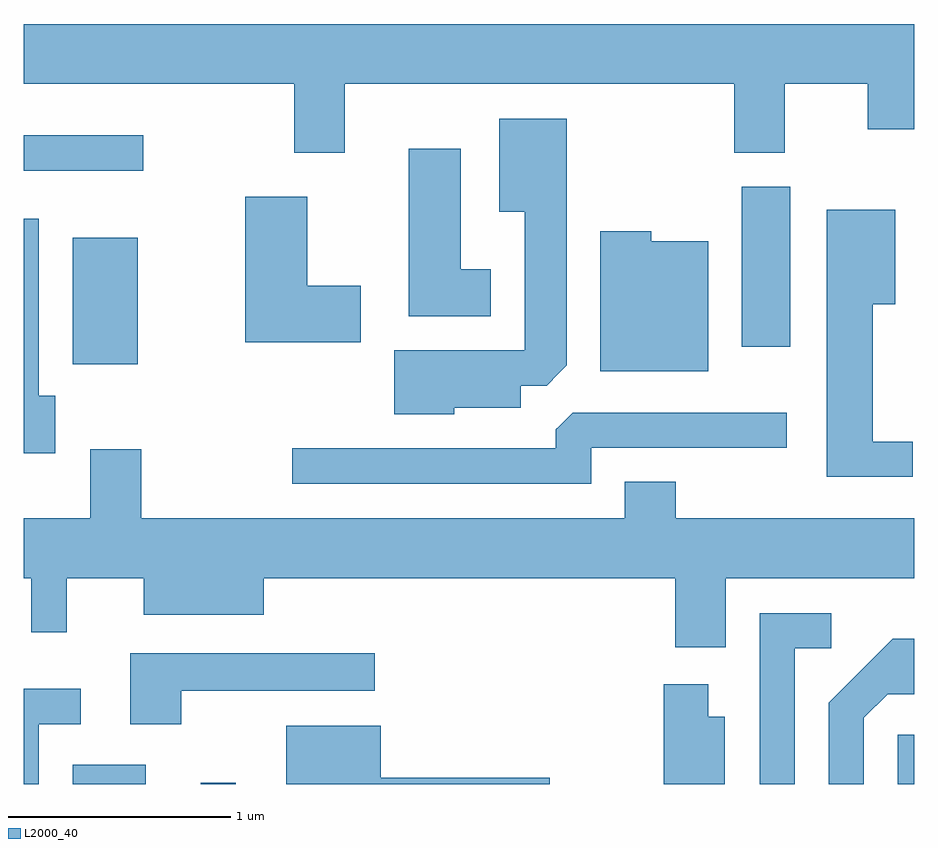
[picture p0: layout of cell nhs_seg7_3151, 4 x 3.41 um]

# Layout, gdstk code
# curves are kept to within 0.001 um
import gdstk
lib = gdstk.Library(unit=1e-6, precision=1e-09)
def R(c, l, rs):  # rectangles x0, y0, x1, y1
    for r in rs: c.add(gdstk.rectangle(r[:2], r[2:], *l))
def P(c, l, *ps):  # polygons
    for p in ps: c.add(gdstk.Polygon(p, *l))
L2000_40 = (2000, 40)

nhs_seg7_3151 = lib.new_cell('nhs_seg7_3151')
R(nhs_seg7_3151, L2000_40, [(281.831,1742.252,282.159,1742.339), (282.406,1742.252,282.564,1742.258), (285.536,1742.252,285.611,1742.473), (281.831,1744.136,282.124,1744.704), (284.836,1744.216,285.054,1744.934), (281.611,1745.006,282.148,1745.164)])
P(nhs_seg7_3151, L2000_40, [(283.054,1745.396),(284.801,1745.396),(284.801,1745.086),(285.029,1745.086),(285.029,1745.396),(285.401,1745.396),(285.401,1745.191),(285.611,1745.191),(285.611,1745.664),(281.611,1745.664),(281.611,1745.396),(282.826,1745.396),(282.826,1745.086),(283.054,1745.086)],
  [(283.544,1743.941),(283.844,1743.941),(283.844,1744.041),(283.959,1744.041),(284.049,1744.132),(284.049,1745.239),(283.746,1745.239),(283.746,1744.821),(283.861,1744.821),(283.861,1744.199),(283.276,1744.199),(283.276,1743.911),(283.544,1743.911)],
  [(283.709,1744.564),(283.574,1744.564),(283.574,1745.104),(283.341,1745.104),(283.341,1744.351),(283.709,1744.351)],
  [(283.124,1744.489),(282.884,1744.489),(282.884,1744.889),(282.606,1744.889),(282.606,1744.236),(283.124,1744.236)],
  [(285.603,1743.789),(285.424,1743.789),(285.424,1744.406),(285.524,1744.406),(285.524,1744.829),(285.216,1744.829),(285.216,1743.631),(285.603,1743.631)],
  [(281.754,1743.994),(281.679,1743.994),(281.679,1744.789),(281.611,1744.789),(281.611,1743.736),(281.754,1743.736)],
  [(284.684,1744.689),(284.429,1744.689),(284.429,1744.734),(284.201,1744.734),(284.201,1744.106),(284.684,1744.106)],
  [(284.159,1743.761),(285.038,1743.761),(285.038,1743.919),(284.077,1743.919),(284.013,1743.855),(284.001,1743.844),(284.001,1743.759),(282.818,1743.759),(282.818,1743.601),(284.159,1743.601)],
  [(284.764,1743.176),(285.611,1743.176),(285.611,1743.444),(284.539,1743.444),(284.539,1743.609),(284.311,1743.609),(284.311,1743.444),(282.139,1743.444),(282.139,1743.754),(281.911,1743.754),(281.911,1743.444),(281.611,1743.444),(281.611,1743.176),(281.646,1743.176),(281.646,1742.933),(281.804,1742.933),(281.804,1743.176),(282.151,1743.176),(282.151,1743.011),(282.689,1743.011),(282.689,1743.176),(284.536,1743.176),(284.536,1742.866),(284.764,1742.866)],
  [(285.074,1742.861),(285.238,1742.861),(285.238,1743.019),(284.916,1743.019),(284.916,1742.252),(285.074,1742.252)],
  [(285.384,1742.549),(285.492,1742.656),(285.611,1742.656),(285.611,1742.904),(285.514,1742.904),(285.226,1742.617),(285.226,1742.252),(285.384,1742.252)],
  [(282.319,1742.671),(283.188,1742.671),(283.188,1742.839),(282.091,1742.839),(282.091,1742.521),(282.319,1742.521)],
  [(284.759,1742.554),(284.684,1742.554),(284.684,1742.699),(284.486,1742.699),(284.486,1742.252),(284.759,1742.252)],
  [(281.679,1742.521),(281.868,1742.521),(281.868,1742.679),(281.611,1742.679),(281.611,1742.252),(281.679,1742.252)],
  [(283.974,1742.279),(283.214,1742.279),(283.214,1742.514),(282.791,1742.514),(282.791,1742.252),(283.974,1742.252)])

lib.write_gds('nhs_seg7_3151.gds')
